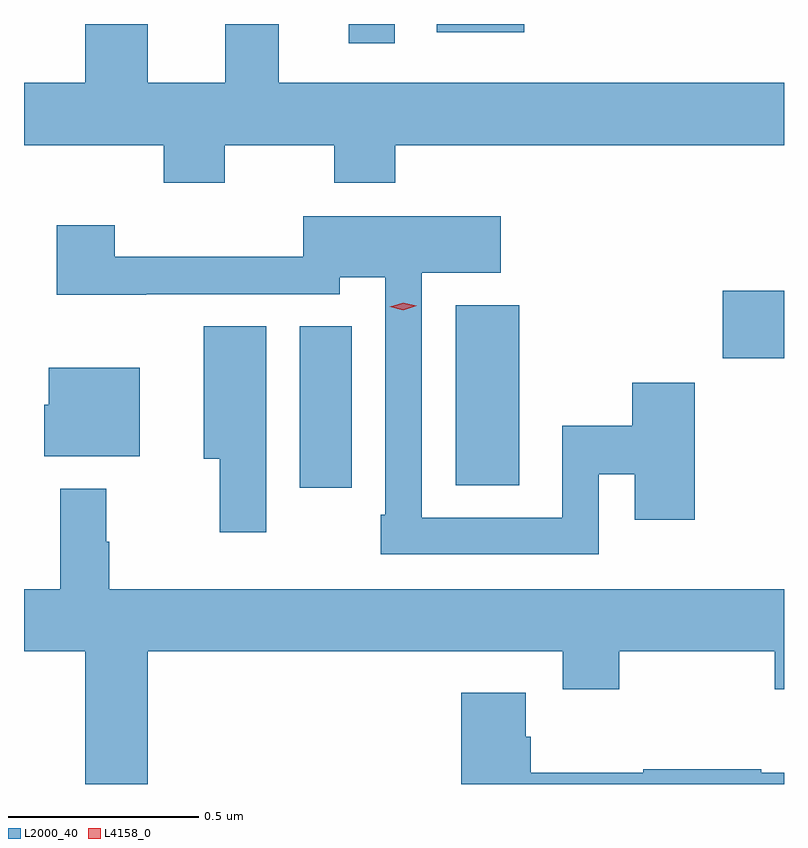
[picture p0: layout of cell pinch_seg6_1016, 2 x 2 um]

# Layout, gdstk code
import gdstk
lib = gdstk.Library(unit=1e-6, precision=1e-09)
def R(c, l, rs):  # rectangles x0, y0, x1, y1
    for r in rs: c.add(gdstk.rectangle(r[:2], r[2:], *l))
def P(c, l, *ps):  # polygons
    for p in ps: c.add(gdstk.Polygon(p, *l))
L2000_40 = (2000, 40)
L4158_0 = (4158, 0)

pinch_seg6_1016 = lib.new_cell('pinch_seg6_1016')
R(pinch_seg6_1016, L2000_40, [(249.488,943.77,249.625,944.195), (249.899,943.777,250.066,944.251), (250.602,944.111,250.763,944.289), (249.617,944.94,249.739,944.991), (249.849,944.969,250.079,944.991)])
P(pinch_seg6_1016, L2000_40, [(249.291,944.672),(249.58,944.672),(249.58,944.573),(249.74,944.573),(249.74,944.672),(250.763,944.672),(250.763,944.836),(249.433,944.836),(249.433,944.991),(249.293,944.991),(249.293,944.836),(249.088,944.836),(249.088,944.991),(248.924,944.991),(248.924,944.836),(248.763,944.836),(248.763,944.672),(249.131,944.672),(249.131,944.573),(249.291,944.573)],
  [(250.275,943.806),(250.37,943.806),(250.37,943.686),(250.528,943.686),(250.528,944.047),(250.363,944.047),(250.363,943.934),(250.179,943.934),(250.179,943.692),(249.81,943.692),(249.81,944.336),(250.018,944.336),(250.018,944.485),(249.498,944.485),(249.498,944.378),(249.002,944.378),(249.002,944.461),(248.849,944.461),(248.849,944.279),(249.085,944.279),(249.085,944.28),(249.594,944.28),(249.594,944.324),(249.714,944.324),(249.714,943.699),(249.702,943.699),(249.702,943.596),(250.275,943.596)],
  [(249.4,944.195),(249.236,944.195),(249.236,943.847),(249.278,943.847),(249.278,943.653),(249.4,943.653)],
  [(249.067,944.086),(248.828,944.086),(248.828,943.989),(248.816,943.989),(248.816,943.853),(249.067,943.853)],
  [(249.088,943.34),(250.181,943.34),(250.181,943.241),(250.329,943.241),(250.329,943.34),(250.738,943.34),(250.738,943.241),(250.763,943.241),(250.763,943.504),(248.987,943.504),(248.987,943.628),(248.98,943.628),(248.98,943.768),(248.859,943.768),(248.859,943.504),(248.763,943.504),(248.763,943.34),(248.924,943.34),(248.924,942.991),(249.088,942.991)],
  [(250.763,943.02),(250.703,943.02),(250.703,943.03),(250.393,943.03),(250.393,943.02),(250.097,943.02),(250.097,943.116),(250.084,943.116),(250.084,943.231),(249.914,943.231),(249.914,942.991),(250.763,942.991)])
P(pinch_seg6_1016, L4158_0, [(249.761,944.238),(249.726,944.247),(249.726,944.247),(249.726,944.247),(249.761,944.258),(249.796,944.249),(249.796,944.249),(249.796,944.249)])

lib.write_gds('pinch_seg6_1016.gds')
